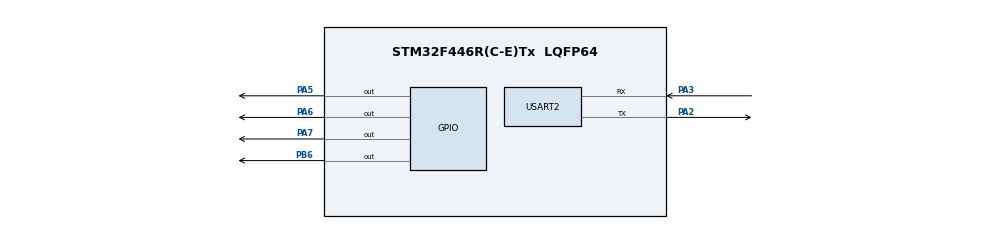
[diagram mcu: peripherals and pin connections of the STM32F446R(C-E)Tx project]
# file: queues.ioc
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Mcu.Family=STM32F4
Mcu.Name=STM32F446R(C-E)Tx
Mcu.Package=LQFP64
NVIC.PriorityGroup=NVIC_PRIORITYGROUP_4
NVIC.TIM6_DAC_IRQn=true\:15\:0\:false\:false\:true\:false\:true\:true
NVIC.TimeBase=TIM6_DAC_IRQn
NVIC.TimeBaseIP=TIM6
NVIC.USART2_IRQn=true\:0\:0\:false\:false\:true\:true\:true\:true
PA2.Mode=Asynchronous
PA2.Signal=USART2_TX
PA3.Mode=Asynchronous
PA3.Signal=USART2_RX
PA5.Signal=GPIO_Output
PA6.Signal=GPIO_Output
PA7.Signal=GPIO_Output
PB6.Signal=GPIO_Output
ProjectManager.HeapSize=0x200
ProjectManager.StackSize=0x400
ProjectManager.TargetToolchain=STM32CubeIDE
RTC.HourFormat=RTC_HOURFORMAT_12
USART2.VirtualMode=VM_ASYNC
VP_RTC_VS_RTC_Activate.Mode=RTC_Enabled
VP_SYS_VS_tim6.Mode=TIM6
board=custom

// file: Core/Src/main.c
/* USER CODE BEGIN Header */
/**
  ******************************************************************************
  * @file           : main.c
  * @brief          : Main program body
  ******************************************************************************
  * @attention
  *
  * Copyright (c) 2025 STMicroelectronics.
  * All rights reserved.
  *
  * This software is licensed under terms that can be found in the LICENSE file
  * in the root directory of this software component.
  * If no LICENSE file comes with this software, it is provided AS-IS.
  *
  ******************************************************************************
  */
/* USER CODE END Header */
#include "main.h"

/* USER CODE BEGIN Includes */
#include "FreeRTOS.h"
#include "FreeRTOSConfig.h"
#include "task.h"
#include "queue.h"
#include "taskhandler.h"
#include "timers.h"
/* USER CODE END Includes */

RTC_HandleTypeDef hrtc;

UART_HandleTypeDef huart2;

/* USER CODE BEGIN PV */
TaskHandle_t menutask;
TaskHandle_t rtctask;
TaskHandle_t printtask;
TaskHandle_t ledtask;
TaskHandle_t cmdhandlertask;

QueueHandle_t inputqueue;
QueueHandle_t printqueue;

BaseType_t status;
TimerHandle_t timerhandle[4];
volatile uint8_t userdata;

/* USER CODE END PV */

void SystemClock_Config(void);
static void MX_GPIO_Init(void);
static void MX_RTC_Init(void);
static void MX_USART2_UART_Init(void);
/* USER CODE BEGIN PFP */
TimerCallbackFunction_t timer_callback(TimerHandle_t timerhandle);

/* USER CODE END PFP */

int main(void)
{

  /* MCU Configuration--------------------------------------------------------*/

  /* Reset of all peripherals, Initializes the Flash interface and the Systick. */
  HAL_Init();

  /* Configure the system clock */
  SystemClock_Config();

  /* Initialize all configured peripherals */
  MX_GPIO_Init();
  MX_RTC_Init();
  MX_USART2_UART_Init();
  /* USER CODE BEGIN 2 */

  status= xTaskCreate(menu_task, "menu", 250, NULL, 2, &menutask);
  configASSERT(status);
  status= xTaskCreate(rtc_task, "rtc", 250, NULL, 2, &rtctask);
  configASSERT(status);
  status= xTaskCreate(led_task, "led", 250, NULL, 2, &ledtask);
  configASSERT(status);
  status= xTaskCreate(print_task, "print", 250, NULL, 2, &printtask);
  configASSERT(status);
  status= xTaskCreate(cmd_handler_task, "input", 250, NULL, 2, &cmdhandlertask);
  configASSERT(status);

  //QUEUE CREATION

  printqueue=xQueueCreate(10,sizeof(char));
  configASSERT(printqueue!=NULL);
  inputqueue=xQueueCreate(10,sizeof(char));
  configASSERT(inputqueue!=NULL);

  //create software timers:
  for (int i=0;i<4;i++)
  {
	 timerhandle[i]=xTimerCreate("Timer", pdMS_TO_TICKS(500), pdTRUE, (void *)(i+1), timer_callback );
  }
  HAL_UART_Receive_IT(&huart2,&userdata,1);
  vTaskStartScheduler();

  /* USER CODE END 2 */

  /* Infinite loop */
  while (1)
  {

  }
}

void SystemClock_Config(void)
{
  RCC_OscInitTypeDef RCC_OscInitStruct = {0};
  RCC_ClkInitTypeDef RCC_ClkInitStruct = {0};

  /** Configure the main internal regulator output voltage
  */
  __HAL_RCC_PWR_CLK_ENABLE();
  __HAL_PWR_VOLTAGESCALING_CONFIG(PWR_REGULATOR_VOLTAGE_SCALE3);

  /** Initializes the RCC Oscillators according to the specified parameters
  * in the RCC_OscInitTypeDef structure.
  */
  RCC_OscInitStruct.OscillatorType = RCC_OSCILLATORTYPE_HSI|RCC_OSCILLATORTYPE_LSI;
  RCC_OscInitStruct.LSEState = RCC_LSE_OFF;
  RCC_OscInitStruct.HSIState = RCC_HSI_ON;
  RCC_OscInitStruct.HSICalibrationValue = RCC_HSICALIBRATION_DEFAULT;
  RCC_OscInitStruct.LSIState = RCC_LSI_ON;
  RCC_OscInitStruct.PLL.PLLState = RCC_PLL_NONE;
  if (HAL_RCC_OscConfig(&RCC_OscInitStruct) != HAL_OK)
  {
    Error_Handler();
  }

  /** Initializes the CPU, AHB and APB buses clocks
  */
  RCC_ClkInitStruct.ClockType = RCC_CLOCKTYPE_HCLK|RCC_CLOCKTYPE_SYSCLK
                              |RCC_CLOCKTYPE_PCLK1|RCC_CLOCKTYPE_PCLK2;
  RCC_ClkInitStruct.SYSCLKSource = RCC_SYSCLKSOURCE_HSI;
  RCC_ClkInitStruct.AHBCLKDivider = RCC_SYSCLK_DIV1;
  RCC_ClkInitStruct.APB1CLKDivider = RCC_HCLK_DIV1;
  RCC_ClkInitStruct.APB2CLKDivider = RCC_HCLK_DIV1;

  if (HAL_RCC_ClockConfig(&RCC_ClkInitStruct, FLASH_LATENCY_0) != HAL_OK)
  {
    Error_Handler();
  }
}

static void MX_RTC_Init(void)
{

  /** Initialize RTC Only
  */
  hrtc.Instance = RTC;
  hrtc.Init.HourFormat = RTC_HOURFORMAT_12;
  hrtc.Init.AsynchPrediv = 127;
  hrtc.Init.SynchPrediv = 255;
  hrtc.Init.OutPut = RTC_OUTPUT_DISABLE;
  hrtc.Init.OutPutPolarity = RTC_OUTPUT_POLARITY_HIGH;
  hrtc.Init.OutPutType = RTC_OUTPUT_TYPE_OPENDRAIN;
  if (HAL_RTC_Init(&hrtc) != HAL_OK)
  {
    Error_Handler();
  }

}

static void MX_USART2_UART_Init(void)
{

  huart2.Instance = USART2;
  huart2.Init.BaudRate = 115200;
  huart2.Init.WordLength = UART_WORDLENGTH_8B;
  huart2.Init.StopBits = UART_STOPBITS_1;
  huart2.Init.Parity = UART_PARITY_NONE;
  huart2.Init.Mode = UART_MODE_TX_RX;
  huart2.Init.HwFlowCtl = UART_HWCONTROL_NONE;
  huart2.Init.OverSampling = UART_OVERSAMPLING_16;
  if (HAL_UART_Init(&huart2) != HAL_OK)
  {
    Error_Handler();
  }

}

static void MX_GPIO_Init(void)
{
  GPIO_InitTypeDef GPIO_InitStruct = {0};

  /* GPIO Ports Clock Enable */
  __HAL_RCC_GPIOA_CLK_ENABLE();
  __HAL_RCC_GPIOB_CLK_ENABLE();

  /*Configure GPIO pin Output Level */
  HAL_GPIO_WritePin(GPIOA, GPIO_PIN_5|GPIO_PIN_6|GPIO_PIN_7, GPIO_PIN_RESET);

  /*Configure GPIO pin Output Level */
  HAL_GPIO_WritePin(GPIOB, GPIO_PIN_6, GPIO_PIN_RESET);

  /*Configure GPIO pins : PA5 PA6 PA7 */
  GPIO_InitStruct.Pin = GPIO_PIN_5|GPIO_PIN_6|GPIO_PIN_7;
  GPIO_InitStruct.Mode = GPIO_MODE_OUTPUT_PP;
  GPIO_InitStruct.Pull = GPIO_NOPULL;
  GPIO_InitStruct.Speed = GPIO_SPEED_FREQ_LOW;
  HAL_GPIO_Init(GPIOA, &GPIO_InitStruct);

  /*Configure GPIO pin : PB6 */
  GPIO_InitStruct.Pin = GPIO_PIN_6;
  GPIO_InitStruct.Mode = GPIO_MODE_OUTPUT_PP;
  GPIO_InitStruct.Pull = GPIO_NOPULL;
  GPIO_InitStruct.Speed = GPIO_SPEED_FREQ_LOW;
  HAL_GPIO_Init(GPIOB, &GPIO_InitStruct);

}

/* USER CODE BEGIN 4 */
void HAL_UART_RxCpltCallback(UART_HandleTypeDef *huart)
{
  if(xQueueIsQueueFullFromISR(inputqueue)==pdFALSE)
  {
	  xQueueSendFromISR(inputqueue,(void *) &userdata,NULL);
  }else
  {
	  if(userdata=='\n')
	  {
		  xQueueReceiveFromISR(inputqueue, &userdata, NULL);
		  xQueueSendFromISR(inputqueue,&userdata,NULL);
	  }
  }
  if (userdata=='\n')
  {
	  xTaskNotifyFromISR(cmdhandlertask,0,eNoAction,NULL);
  }

  // AGAIN ENABLE THE HAL UART RECEIVE

  HAL_UART_Receive_IT(&huart2,&userdata,1);
}

//timer callback function
TimerCallbackFunction_t timer_callback(TimerHandle_t timerhandle)
{
	int id= (uint32_t)pvTimerGetTimerID(timerhandle);

	switch (id)
	{
	case 1:
		ledeffect1();
		break;

	case 2:
		ledeffect2();
		break;

	case 3:
		ledeffect3();
		break;

	case 4:
		ledeffect4();
		break;

	}

}
/* USER CODE END 4 */

void HAL_TIM_PeriodElapsedCallback(TIM_HandleTypeDef *htim)
{
  if (htim->Instance == TIM6)
  {
    HAL_IncTick();
  }
}

void Error_Handler(void)
{
  __disable_irq();
  while (1)
  {
  }
}
